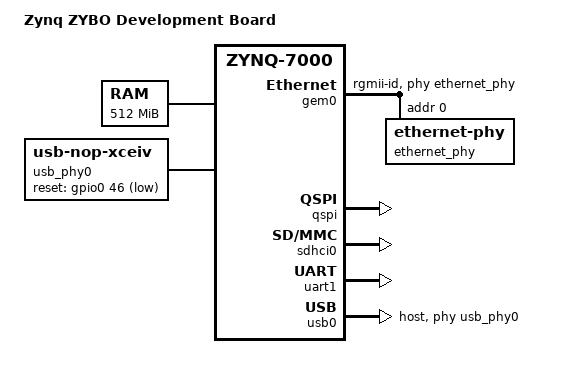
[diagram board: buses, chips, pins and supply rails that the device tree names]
/*
 * Digilent ZYBO board DTS
 *
 *  Copyright (C) 2011 - 2015 Xilinx
 *  Copyright (C) 2012 National Instruments Corp.
 *
 * SPDX-License-Identifier:	GPL-2.0+
 */
/dts-v1/;
#include "zynq-7000.dtsi"

/ {
	model = "Zynq ZYBO Development Board";
	compatible = "digilent,zynq-zybo", "xlnx,zynq-7000";

	aliases {
		ethernet0 = &gem0;
		serial0 = &uart1;
		spi0 = &qspi;
		mmc0 = &sdhci0;
	};

	memory {
		device_type = "memory";
		reg = <0x0 0x20000000>;
	};

	chosen {
		bootargs = "";
		stdout-path = "serial0:115200n8";
	};

	usb_phy0: phy0 {
		compatible = "usb-nop-xceiv";
		#phy-cells = <0>;
		reset-gpios = <&gpio0 46 1>;
	};
};

&clkc {
	ps-clk-frequency = <50000000>;
};

&gem0 {
	status = "okay";
	phy-mode = "rgmii-id";
	phy-handle = <&ethernet_phy>;

	ethernet_phy: ethernet-phy@0 {
		reg = <0>;
	};
};

&qspi {
	u-boot,dm-pre-reloc;
	status = "okay";
};

&sdhci0 {
	u-boot,dm-pre-reloc;
	status = "okay";
};

&uart1 {
	u-boot,dm-pre-reloc;
	status = "okay";
};

&usb0 {
	status = "okay";
	dr_mode = "host";
	usb-phy = <&usb_phy0>;
};
